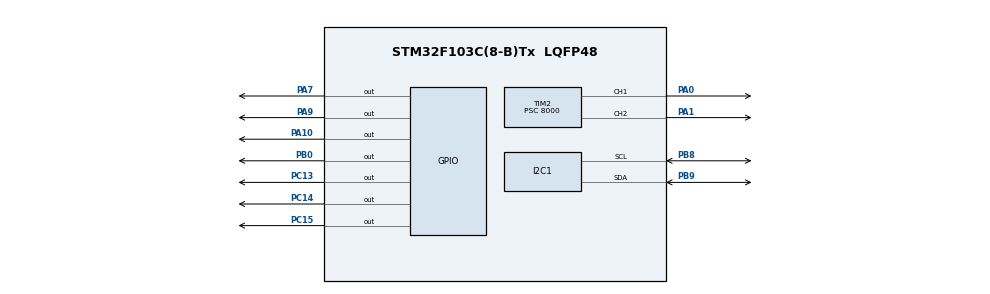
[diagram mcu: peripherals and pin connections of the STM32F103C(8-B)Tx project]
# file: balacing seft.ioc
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Mcu.Family=STM32F1
PC13-TAMPER-RTC.Signal=GPIO_Output
TIM2.Channel-PWM\ Generation2\ CH2=TIM_CHANNEL_2
PC14-OSC32_IN.Signal=GPIO_Output
ProjectManager.StackSize=0x400
PA0-WKUP.Signal=S_TIM2_CH1_ETR
PA13.Signal=SYS_JTMS-SWDIO
SH.S_TIM2_CH2.0=TIM2_CH2,PWM Generation2 CH2
ProjectManager.TargetToolchain=STM32CubeIDE
PB9.Mode=I2C
PA9.Signal=GPIO_Output
PC15-OSC32_OUT.Signal=GPIO_Output
PA1.Signal=S_TIM2_CH2
board=custom
RCC.APB2Freq_Value=8000000
VP_TIM2_VS_ClockSourceINT.Mode=Internal
PA14.Mode=Serial_Wire
NVIC.TIM2_IRQn=true\:0\:0\:false\:false\:true\:true\:true
TIM2.Channel-PWM\ Generation1\ CH1=TIM_CHANNEL_1
TIM2.Period=9
PA13.Mode=Serial_Wire
Mcu.Name=STM32F103C(8-B)Tx
Mcu.Package=LQFP48
PB9.Signal=I2C1_SDA
TIM2.Prescaler=8000
SH.S_TIM2_CH1_ETR.0=TIM2_CH1,PWM Generation1 CH1
PA10.Signal=GPIO_Output
PA14.Signal=SYS_JTCK-SWCLK
ProjectManager.HeapSize=0x200
NVIC.PriorityGroup=NVIC_PRIORITYGROUP_4
PB8.Mode=I2C
PB8.Signal=I2C1_SCL
RCC.APB1Freq_Value=8000000
PB0.Signal=GPIO_Output
PA7.Signal=GPIO_Output

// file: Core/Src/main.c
/* USER CODE BEGIN Header */
/**
  ******************************************************************************
  * @file           : main.c
  * @brief          : Main program body
  ******************************************************************************
  * @attention
  *
  * <h2><center>&copy; Copyright (c) 2021 STMicroelectronics.
  * All rights reserved.</center></h2>
  *
  * This software component is licensed by ST under BSD 3-Clause license,
  * the "License"; You may not use this file except in compliance with the
  * License. You may obtain a copy of the License at:
  *                        opensource.org/licenses/BSD-3-Clause
  *
  ******************************************************************************
  */
/* USER CODE END Header */
#include "main.h"

/* USER CODE BEGIN Includes */
#include"mpu6050.h"
#include"PID.h"
/* USER CODE END Includes */

I2C_HandleTypeDef hi2c1;

TIM_HandleTypeDef htim2;

void SystemClock_Config(void);
static void MX_GPIO_Init(void);
static void MX_I2C1_Init(void);
static void MX_TIM2_Init(void);
/* USER CODE BEGIN PFP */
  volatile int duty = 36;
  volatile int duty_1 = 36;
  int pwm = 0;
/* USER CODE END PFP */

/* USER CODE BEGIN 0 */

void PWM_Control_1(int duty){

		if(duty > 0){

		  HAL_GPIO_WritePin(GPIOA,GPIO_PIN_7,GPIO_PIN_SET);
		  HAL_GPIO_WritePin(GPIOB,GPIO_PIN_0,GPIO_PIN_RESET);

		}
		else{
		  duty = -duty;
		  HAL_GPIO_WritePin(GPIOA,GPIO_PIN_7,GPIO_PIN_RESET);
		  HAL_GPIO_WritePin(GPIOB,GPIO_PIN_0,GPIO_PIN_SET);
		}

		  __HAL_TIM_SET_COMPARE(&htim2, TIM_CHANNEL_1, duty);
		 // HAL_UART_Transmit(&huart1,duty, 7, 1000);

	}

	void PWM_Control_2(int duty){
		if(duty > 0){
			  HAL_GPIO_WritePin(GPIOA,GPIO_PIN_9,GPIO_PIN_RESET);
			  HAL_GPIO_WritePin(GPIOA,GPIO_PIN_10,GPIO_PIN_SET);

		}
		else{
	      duty = -duty;
		  HAL_GPIO_WritePin(GPIOA,GPIO_PIN_9,GPIO_PIN_SET);
		  HAL_GPIO_WritePin(GPIOA,GPIO_PIN_10,GPIO_PIN_RESET);
		}

		__HAL_TIM_SET_COMPARE(&htim2, TIM_CHANNEL_2, duty);

	}

	  void HAL_TIM_PeriodElapsedCallback(TIM_HandleTypeDef *htim)
	  {
	      if (htim->Instance==TIM2) {
	    	 // pre_com_angle = com_angle; // đạo hàm, lúc trước khi lấy mẫu cái hiện tại đã thành cái mới
	    	  process_MPU();

	    	  duty = PID(0,com_angle);
	    	  //duty_1 = PID_1(0,com_angle);
	      }
	  }
/* USER CODE END 0 */

int main(void)
{

  /* MCU Configuration--------------------------------------------------------*/

  /* Reset of all peripherals, Initializes the Flash interface and the Systick. */
  HAL_Init();

  /* Configure the system clock */
  SystemClock_Config();

  /* Initialize all configured peripherals */
  MX_GPIO_Init();
  MX_I2C1_Init();
  MX_TIM2_Init();
  /* USER CODE BEGIN 2 */
  HAL_TIM_Base_Start_IT(&htim2);
  HAL_TIM_PWM_Start(&htim2,TIM_CHANNEL_1);
  HAL_TIM_PWM_Start(&htim2,TIM_CHANNEL_2);
  /* USER CODE END 2 */

  /* Infinite loop */
  /* USER CODE BEGIN WHILE */
  init_MPU();
  while (1)
  {
    /* USER CODE END WHILE */
	  PWM_Control_1(duty);
	  PWM_Control_2(duty);
    /* USER CODE BEGIN 3; */
  }
  /* USER CODE END 3 */
}

void SystemClock_Config(void)
{
  RCC_OscInitTypeDef RCC_OscInitStruct = {0};
  RCC_ClkInitTypeDef RCC_ClkInitStruct = {0};

  /** Initializes the RCC Oscillators according to the specified parameters
  * in the RCC_OscInitTypeDef structure.
  */
  RCC_OscInitStruct.OscillatorType = RCC_OSCILLATORTYPE_HSI;
  RCC_OscInitStruct.HSIState = RCC_HSI_ON;
  RCC_OscInitStruct.HSICalibrationValue = RCC_HSICALIBRATION_DEFAULT;
  RCC_OscInitStruct.PLL.PLLState = RCC_PLL_NONE;
  if (HAL_RCC_OscConfig(&RCC_OscInitStruct) != HAL_OK)
  {
    Error_Handler();
  }
  /** Initializes the CPU, AHB and APB buses clocks
  */
  RCC_ClkInitStruct.ClockType = RCC_CLOCKTYPE_HCLK|RCC_CLOCKTYPE_SYSCLK
                              |RCC_CLOCKTYPE_PCLK1|RCC_CLOCKTYPE_PCLK2;
  RCC_ClkInitStruct.SYSCLKSource = RCC_SYSCLKSOURCE_HSI;
  RCC_ClkInitStruct.AHBCLKDivider = RCC_SYSCLK_DIV1;
  RCC_ClkInitStruct.APB1CLKDivider = RCC_HCLK_DIV1;
  RCC_ClkInitStruct.APB2CLKDivider = RCC_HCLK_DIV1;

  if (HAL_RCC_ClockConfig(&RCC_ClkInitStruct, FLASH_LATENCY_0) != HAL_OK)
  {
    Error_Handler();
  }
}

static void MX_I2C1_Init(void)
{

  hi2c1.Instance = I2C1;
  hi2c1.Init.ClockSpeed = 100000;
  hi2c1.Init.DutyCycle = I2C_DUTYCYCLE_2;
  hi2c1.Init.OwnAddress1 = 0;
  hi2c1.Init.AddressingMode = I2C_ADDRESSINGMODE_7BIT;
  hi2c1.Init.DualAddressMode = I2C_DUALADDRESS_DISABLE;
  hi2c1.Init.OwnAddress2 = 0;
  hi2c1.Init.GeneralCallMode = I2C_GENERALCALL_DISABLE;
  hi2c1.Init.NoStretchMode = I2C_NOSTRETCH_DISABLE;
  if (HAL_I2C_Init(&hi2c1) != HAL_OK)
  {
    Error_Handler();
  }

}

static void MX_TIM2_Init(void)
{

  TIM_ClockConfigTypeDef sClockSourceConfig = {0};
  TIM_MasterConfigTypeDef sMasterConfig = {0};
  TIM_OC_InitTypeDef sConfigOC = {0};

  htim2.Instance = TIM2;
  htim2.Init.Prescaler = 8000;
  htim2.Init.CounterMode = TIM_COUNTERMODE_UP;
  htim2.Init.Period = 9;
  htim2.Init.ClockDivision = TIM_CLOCKDIVISION_DIV1;
  htim2.Init.AutoReloadPreload = TIM_AUTORELOAD_PRELOAD_DISABLE;
  if (HAL_TIM_Base_Init(&htim2) != HAL_OK)
  {
    Error_Handler();
  }
  sClockSourceConfig.ClockSource = TIM_CLOCKSOURCE_INTERNAL;
  if (HAL_TIM_ConfigClockSource(&htim2, &sClockSourceConfig) != HAL_OK)
  {
    Error_Handler();
  }
  if (HAL_TIM_PWM_Init(&htim2) != HAL_OK)
  {
    Error_Handler();
  }
  sMasterConfig.MasterOutputTrigger = TIM_TRGO_RESET;
  sMasterConfig.MasterSlaveMode = TIM_MASTERSLAVEMODE_DISABLE;
  if (HAL_TIMEx_MasterConfigSynchronization(&htim2, &sMasterConfig) != HAL_OK)
  {
    Error_Handler();
  }
  sConfigOC.OCMode = TIM_OCMODE_PWM1;
  sConfigOC.Pulse = 0;
  sConfigOC.OCPolarity = TIM_OCPOLARITY_HIGH;
  sConfigOC.OCFastMode = TIM_OCFAST_DISABLE;
  if (HAL_TIM_PWM_ConfigChannel(&htim2, &sConfigOC, TIM_CHANNEL_1) != HAL_OK)
  {
    Error_Handler();
  }
  if (HAL_TIM_PWM_ConfigChannel(&htim2, &sConfigOC, TIM_CHANNEL_2) != HAL_OK)
  {
    Error_Handler();
  }
  HAL_TIM_MspPostInit(&htim2);

}

static void MX_GPIO_Init(void)
{
  GPIO_InitTypeDef GPIO_InitStruct = {0};

  /* GPIO Ports Clock Enable */
  __HAL_RCC_GPIOC_CLK_ENABLE();
  __HAL_RCC_GPIOA_CLK_ENABLE();
  __HAL_RCC_GPIOB_CLK_ENABLE();

  /*Configure GPIO pin Output Level */
  HAL_GPIO_WritePin(GPIOC, GPIO_PIN_13|GPIO_PIN_14|GPIO_PIN_15, GPIO_PIN_RESET);

  /*Configure GPIO pin Output Level */
  HAL_GPIO_WritePin(GPIOA, GPIO_PIN_7|GPIO_PIN_9|GPIO_PIN_10, GPIO_PIN_RESET);

  /*Configure GPIO pin Output Level */
  HAL_GPIO_WritePin(GPIOB, GPIO_PIN_0, GPIO_PIN_RESET);

  /*Configure GPIO pins : PC13 PC14 PC15 */
  GPIO_InitStruct.Pin = GPIO_PIN_13|GPIO_PIN_14|GPIO_PIN_15;
  GPIO_InitStruct.Mode = GPIO_MODE_OUTPUT_PP;
  GPIO_InitStruct.Pull = GPIO_NOPULL;
  GPIO_InitStruct.Speed = GPIO_SPEED_FREQ_LOW;
  HAL_GPIO_Init(GPIOC, &GPIO_InitStruct);

  /*Configure GPIO pins : PA7 PA9 PA10 */
  GPIO_InitStruct.Pin = GPIO_PIN_7|GPIO_PIN_9|GPIO_PIN_10;
  GPIO_InitStruct.Mode = GPIO_MODE_OUTPUT_PP;
  GPIO_InitStruct.Pull = GPIO_NOPULL;
  GPIO_InitStruct.Speed = GPIO_SPEED_FREQ_LOW;
  HAL_GPIO_Init(GPIOA, &GPIO_InitStruct);

  /*Configure GPIO pin : PB0 */
  GPIO_InitStruct.Pin = GPIO_PIN_0;
  GPIO_InitStruct.Mode = GPIO_MODE_OUTPUT_PP;
  GPIO_InitStruct.Pull = GPIO_NOPULL;
  GPIO_InitStruct.Speed = GPIO_SPEED_FREQ_LOW;
  HAL_GPIO_Init(GPIOB, &GPIO_InitStruct);

}

void Error_Handler(void)
{
  __disable_irq();
  while (1)
  {
  }
}

/************************ (C) COPYRIGHT STMicroelectronics *****END OF FILE****/
